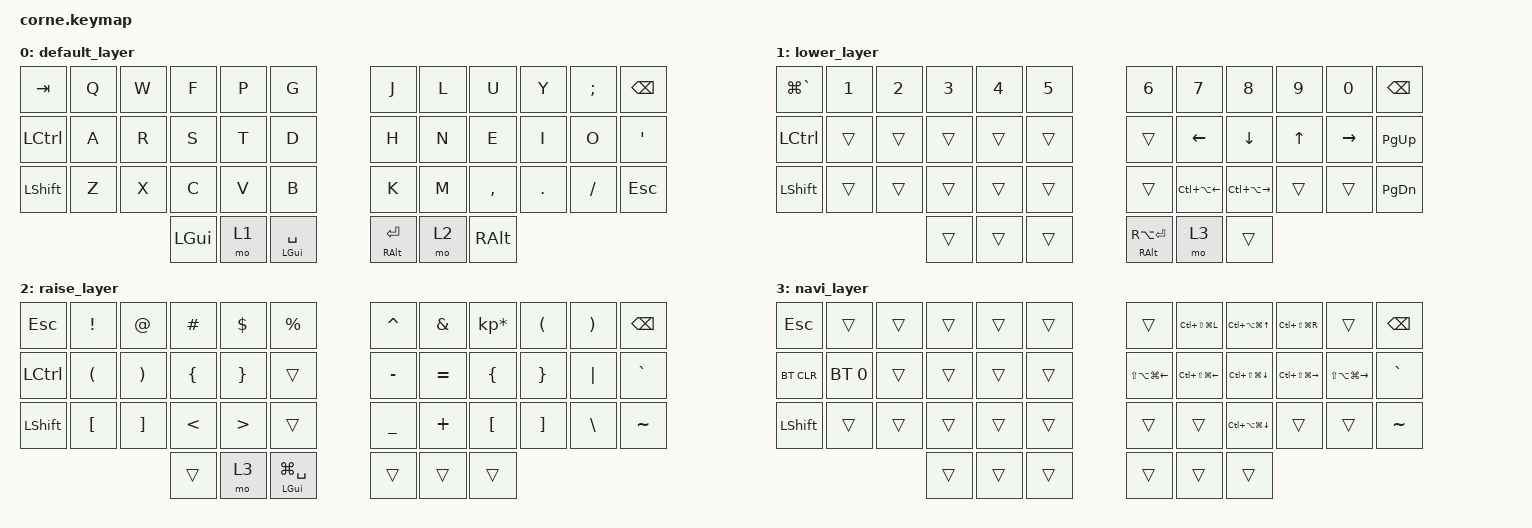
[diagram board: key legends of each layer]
/*
 * Copyright (c) 2020 The ZMK Contributors
 *
 * SPDX-License-Identifier: MIT
 */

#include <behaviors.dtsi>
#include <dt-bindings/zmk/keys.h>
#include <dt-bindings/zmk/bt.h>

/ {
        keymap {
                compatible = "zmk,keymap";

                default_layer {
// -----------------------------------------------------------------------------------------
// |  TAB |  Q  |  W  |  F  |  P  |  G  |             |  J  |  L   |  U  |  Y  |  ;  | BKSP |
// | CTRL |  A  |  R  |  S  |  T  |  D  |             |  H  |  N   |  E  |  I  |  O  |  '   |
// | SHFT |  Z  |  X  |  C  |  V  |  B  |             |  K  |  M   |  ,  |  .  |  /  | ESC  |
//                    | GUI | LWR | SPC |             | ENT | RSE  | ALT |
                        bindings = <
   &kp TAB   &kp Q &kp W &kp F &kp P &kp G             &kp J &kp L  &kp U     &kp Y   &kp SEMI    &kp BSPC
   &kp LCTRL &kp A &kp R &kp S &kp T &kp D             &kp H &kp N  &kp E     &kp I   &kp O       &kp SQT
   &kp LSHFT &kp Z &kp X &kp C &kp V &kp B             &kp K &kp M  &kp COMMA &kp DOT &kp FSLH    &kp ESC
             &kp LGUI &mo 1 &mt LGUI SPACE             &mt RALT RET &mo 2 &kp RALT
                        >;
                };
                
                lower_layer {
// -----------------------------------------------------------------------------------------
// | CYCW |  1  |  2  |  3  |  4  |  5  |             |  6  |  7  |  8  |  9  |  0  | BKSP |
// | CTRL |     |     |     |     |     |             |     | LFT | DWN |  UP | RGT | PG_UP|
// | SHFT |     |     |     |     |     |             |     | NAVB| NAVF|     |     | PG_DN|
//                    | GUI |     | SPC |             | ENT |     | ALT |
                        bindings = <
   &kp LG(GRAVE)  &kp N1       &kp N2       &kp N3       &kp N4       &kp N5              &kp N6                &kp N7             &kp N8              &kp N9    &kp N0        &kp BSPC
   &kp LCTRL      &trans       &trans       &trans       &trans       &trans              &trans                &kp LEFT           &kp DOWN            &kp UP    &kp RIGHT     &kp PG_UP
   &kp LSHFT      &trans       &trans       &trans       &trans       &trans              &trans                &kp LC(LA(LEFT))   &kp LC(LA(RIGHT))   &trans    &trans        &kp PG_DN
                                            &trans       &trans       &trans              &mt RALT RA(RET)      &mo 3              &trans
                        >;
                };

                raise_layer {
// -----------------------------------------------------------------------------------------
// |  ESC |  !  |  @  |  #  |  $  |  %  |             |  ^  |  &  |  *  |  (  |  )  | BKSP |
// | CTRL |  (  |  )  |  {  |  }  |     |             |  -  |  =  |  {  |  }  | "|" |  `   |
// | SHFT |  [  |  ]  |  <  |  >  |     |             |  _  |  +  |  [  |  ]  |  \  |  ~   |
//                    | GUI |     | SPC |             | ENT |     | ALT |
                        bindings = <
   &kp  ESC    &kp EXCL     &kp AT      &kp HASH      &kp DLLR    &kp PRCNT                      &kp CARET        &kp AMPS      &kp KP_MULTIPLY   &kp LPAR     &kp RPAR     &kp BSPC
   &kp LCTRL   &kp LPAR     &kp RPAR    &kp LBRC      &kp RBRC    &trans                         &kp MINUS        &kp EQUAL     &kp LBRC          &kp RBRC     &kp PIPE     &kp GRAVE
   &kp LSHFT   &kp LBKT     &kp RBKT    &kp LT        &kp GT      &trans                         &kp UNDERSCORE   &kp PLUS      &kp LBKT          &kp RBKT     &kp BSLH     &kp TILDE
                                        &trans        &mo 3       &mt LGUI LG(SPACE)             &trans           &trans        &trans
                        >;
                };
                navi_layer {
// -----------------------------------------------------------------------------------------
// |  ESC |     |     |     |     |     |             |     | H_L | FULL| H_R |     | BKSP |
// | BTCLR| BT0 |     |     |     |     |             | Q_L | T_L | HALF| T_R | Q_R |  '   |
// | SHFT |     |     |     |     |     |             |     |     | T_M |     |     |  ~   | 
//                    |     |     |     |             |     |     |     |
                        bindings = <
   &kp  ESC     &trans          &trans          &trans          &trans          &trans                  &trans                  &kp LC(LS(LG(L)))       &kp LC(LA(LG(UP)))     &kp LC(LS(LG(R)))       &trans                  &kp BSPC
   &bt BT_CLR   &bt BT_SEL 0    &trans          &trans          &trans          &trans                  &kp LS(LA(LG(LEFT)))    &kp LC(LS(LG(LEFT)))    &kp LC(LS(LG(DOWN)))   &kp LC(LS(LG(RIGHT)))   &kp LS(LA(LG(RIGHT)))   &kp GRAVE
   &kp LSHFT    &trans          &trans          &trans          &trans          &trans                  &trans                  &trans                  &kp LC(LA(LG(DOWN)))   &trans                  &trans                  &kp TILDE
                                                &trans          &trans          &trans                  &trans                  &trans                  &trans
                        >;
                };
        };
};
